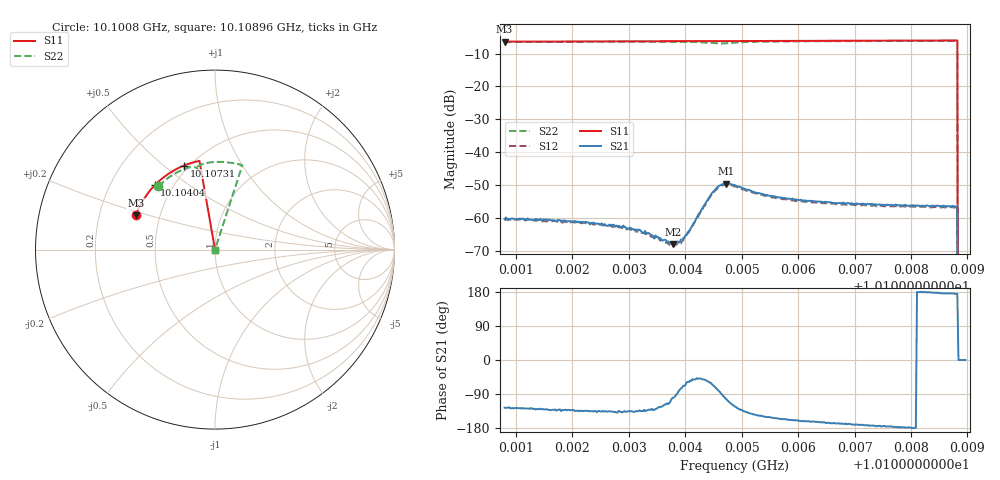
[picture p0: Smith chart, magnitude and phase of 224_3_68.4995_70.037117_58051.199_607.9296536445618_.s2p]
#  HZ  S  RI  R  50.00
! Rohde & Schwarz Vector Network Analyzer
! Rohde-Schwarz,ZNB20-2Port,1311601062101988,3.16
! Created: UTC 3/20/2024, 4:58:41 PM
! freq[Hz]  re:S11  im:S11  re:S21  im:S21  re:S12  im:S12  re:S22  im:S22
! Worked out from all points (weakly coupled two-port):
!   401 points, 10.1008 GHz to 10.10896 GHz, reference 50 ohm
!   highest |S21| = -49.55 dB at 10.10472 GHz (marker M1); lowest = -68.1 dB at 10.10378 GHz (marker M2)
!   lowest |S11| = -6.4 dB at 10.1008 GHz (marker M3), VSWR 2.86, Z = 18.2 + j9.09 ohm
!   |S11| at or under -10 dB: 10.10882 GHz to end of sweep
!   |S22| runs from - to -6.1 dB; largest |S21 - S12| = 0.00034
!   S11 on the Smith chart (normalised r, x): 10.1008 GHz: 0.36, +0.18; 10.10404 GHz: 0.40, +0.37; 10.10731 GHz: 0.47, +0.59; 10.10896 GHz: 1.00, +0.00
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1.0100799e10  -0.4412 0.1921  -0.000564 -0.000775  -0.000476 -0.000784  -0.3151 0.354
1.0101248e10  -0.431 0.2175  -0.000587 -0.000729  -0.000515 -0.000776  -0.2935 0.3736
1.0102167e10  -0.4054 0.2672  -0.000594 -0.000625  -0.000529 -0.000632  -0.2458 0.4097
1.0102902e10  -0.3811 0.3047  -0.000555 -0.000525  -0.000462 -0.000529  -0.204 0.4341
1.010333e10  -0.3652 0.3254  -0.000397 -0.000428  -0.00035 -0.000453  -0.1776 0.4461
1.0103534e10  -0.3573 0.3349  -0.000275 -0.000402  -0.00024 -0.000416  -0.1643 0.4514
1.0103779e10  -0.3475 0.346  -6.65e-05 -0.00039  -3.76e-05 -0.00038  -0.1475 0.4566
1.0103922e10  -0.3416 0.3525  0.000121 -0.000454  0.000133 -0.000383  -0.137 0.4588
1.0104045e10  -0.3364 0.3578  0.000323 -0.000508  0.000331 -0.000478  -0.1273 0.4601
1.0104371e10  -0.3223 0.3716  0.00102 -0.0014  0.00109 -0.00127  -0.1012 0.4541
1.0104494e10  -0.3168 0.3766  0.000981 -0.00229  0.00116 -0.0021  -0.0961 0.4465
1.0104616e10  -0.3115 0.3816  0.00027 -0.00312  0.000468 -0.00298  -0.0988 0.4406
1.0104718e10  -0.3067 0.3856  -0.000676 -0.00326  -0.000412 -0.00316  -0.1033 0.4428
1.0104881e10  -0.2995 0.3921  -0.00171 -0.00263  -0.00141 -0.00265  -0.1031 0.454
1.0105228e10  -0.2831 0.4052  -0.00197 -0.00144  -0.00179 -0.00157  -0.0822 0.4718
1.0105514e10  -0.2692 0.4154  -0.00189 -0.00103  -0.00175 -0.00114  -0.0622 0.4791
1.0106249e10  -0.2316 0.4397  -0.00173 -0.000551  -0.00158 -0.000654  -0.0124 0.4874
1.010731e10  -0.1738 0.4678  -0.00162 -0.000212  -0.00148 -0.000338  0.057 0.4873
1.0107616e10  -0.1568 0.4744  -0.00157 -0.000118  -0.00146 -0.000257  0.0767 0.4854
1.010878e10  -0.0889 0.4938  -0.00147 0.000145  -0.00145 -5.81e-06  0.1497 0.4707
1.0108882e10  0 0  0 0  0 0  0 0
1.0108964e10  0 0  0 0  0 0  0 0
